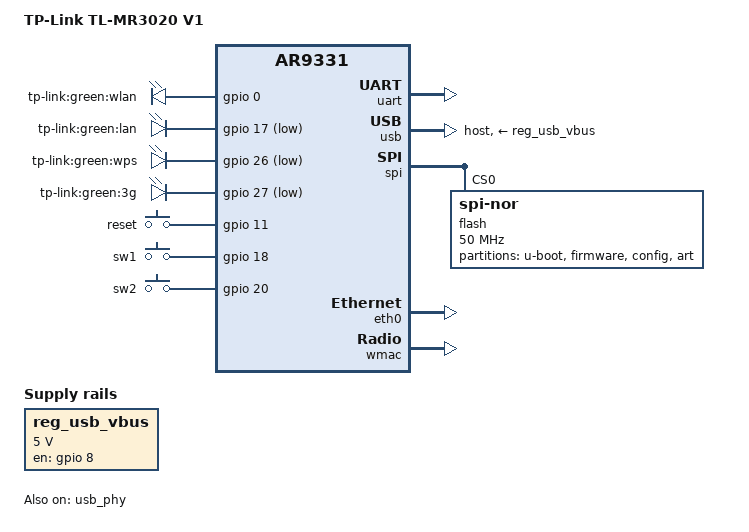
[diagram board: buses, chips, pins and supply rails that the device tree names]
// SPDX-License-Identifier: GPL-2.0-only

#include "ar9331.dtsi"

#include <dt-bindings/gpio/gpio.h>
#include <dt-bindings/input/input.h>

/ {
	model = "TP-Link TL-MR3020 V1";
	compatible = "tplink,tl-mr3020-v1", "qca,ar9331";

	aliases {
		serial0 = &uart;
		led-boot = &led_wps;
		led-failsafe = &led_wps;
		led-running = &led_wps;
		led-upgrade = &led_wps;
		label-mac-device = &eth0;
	};

	leds {
		compatible = "gpio-leds";

		wlan {
			label = "tp-link:green:wlan";
			gpios = <&gpio 0 GPIO_ACTIVE_HIGH>;
			linux,default-trigger = "phy0tpt";
		};

		lan {
			label = "tp-link:green:lan";
			gpios = <&gpio 17 GPIO_ACTIVE_LOW>;
		};

		led_wps: wps {
			label = "tp-link:green:wps";
			gpios = <&gpio 26 GPIO_ACTIVE_LOW>;
		};

		led3g {
			label = "tp-link:green:3g";
			gpios = <&gpio 27 GPIO_ACTIVE_LOW>;
			trigger-sources = <&hub_port>;
			linux,default-trigger = "usbport";
		};
	};

	keys {
		compatible = "gpio-keys";

		reset {
			label = "reset";
			linux,code = <KEY_RESTART>;
			gpios = <&gpio 11 GPIO_ACTIVE_HIGH>;
			debounce-interval = <60>;
		};

		sw1 {
			label = "sw1";
			linux,input-type = <EV_SW>;
			linux,code = <BTN_0>;
			gpios = <&gpio 18 GPIO_ACTIVE_HIGH>;
			debounce-interval = <60>;
		};

		sw2 {
			label = "sw2";
			linux,input-type = <EV_SW>;
			linux,code = <BTN_1>;
			gpios = <&gpio 20 GPIO_ACTIVE_HIGH>;
			debounce-interval = <60>;
		};
	};

	reg_usb_vbus: reg_usb_vbus {
		compatible = "regulator-fixed";
		regulator-name = "usb_vbus";
		regulator-min-microvolt = <5000000>;
		regulator-max-microvolt = <5000000>;
		gpio = <&gpio 8 GPIO_ACTIVE_HIGH>;
		enable-active-high;
	};
};

&ref {
	clock-frequency = <25000000>;
};

&uart {
	status = "okay";
};

&usb {
	#address-cells = <1>;
	#size-cells = <0>;
	dr_mode = "host";
	vbus-supply = <&reg_usb_vbus>;
	status = "okay";

	hub_port: port@1 {
		reg = <1>;
		#trigger-source-cells = <0>;
	};
};

&usb_phy {
	status = "okay";
};

&spi {
	status = "okay";

	num-chipselects = <1>;

	/* Spansion S25FL032PIF SPI flash */
	flash@0 {
		compatible = "jedec,spi-nor";
		spi-max-frequency = <50000000>;
		reg = <0>;

		partitions {
			compatible = "fixed-partitions";
			#address-cells = <1>;
			#size-cells = <1>;

			uboot: partition@0 {
				label = "u-boot";
				reg = <0x000000 0x020000>;
				read-only;
			};

			partition@20000 {
				compatible = "tplink,firmware";
				label = "firmware";
				reg = <0x020000 0x3c0000>;
			};

			partition@3e0000 {
				label = "config";
				reg = <0x3e0000 0x010000>;
				read-only;
			};

			art: partition@3f0000 {
				label = "art";
				reg = <0x3f0000 0x010000>;
				read-only;
			};
		};
	};
};

&eth0 {
	status = "okay";

	mtd-mac-address = <&uboot 0x1fc00>;
	gmac-config {
		device = <&gmac>;

		switch-phy-addr-swap = <0>;
		switch-phy-swap = <0>;
	};
};

&eth1 {
	status = "okay";

	compatible = "syscon", "simple-mfd";
};

&wmac {
	status = "okay";

	mtd-cal-data = <&art 0x1000>;
	mtd-mac-address = <&uboot 0x1fc00>;
};
